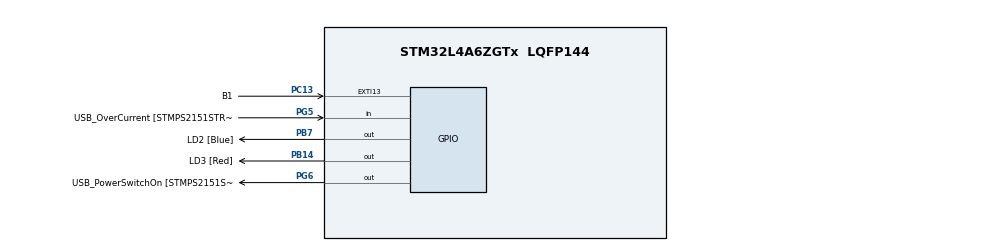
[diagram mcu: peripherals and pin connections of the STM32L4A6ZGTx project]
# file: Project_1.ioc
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FREERTOS.Tasks01=Task1,24,128,StartTask1,Default,NULL,Dynamic,NULL,NULL;Task2,8,128,StartTask2,Default,NULL,Dynamic,NULL,NULL
FREERTOS.configUSE_NEWLIB_REENTRANT=1
Mcu.Family=STM32L4
Mcu.Name=STM32L4A6ZGTx
Mcu.Package=LQFP144
NVIC.PriorityGroup=NVIC_PRIORITYGROUP_4
NVIC.TIM6_DAC_IRQn=true\:15\:0\:false\:false\:true\:false\:false\:true\:true
NVIC.TimeBase=TIM6_DAC_IRQn
NVIC.TimeBaseIP=TIM6
PA10.GPIO_Label=USB_ID
PA10.Signal=USB_OTG_FS_ID
PA11.GPIO_Label=USB_DM
PA11.Signal=USB_OTG_FS_DM
PA12.GPIO_Label=USB_DP
PA12.Signal=USB_OTG_FS_DP
PA13\ (JTMS/SWDIO).GPIO_Label=TMS
PA13\ (JTMS/SWDIO).Mode=Trace_Asynchronous_SW
PA13\ (JTMS/SWDIO).Signal=SYS_JTMS-SWDIO
PA14\ (JTCK/SWCLK).GPIO_Label=TCK
PA14\ (JTCK/SWCLK).Mode=Trace_Asynchronous_SW
PA14\ (JTCK/SWCLK).Signal=SYS_JTCK-SWCLK
PA8.GPIO_Label=USB_SOF [TP1]
PA8.Signal=USB_OTG_FS_SOF
PA9.GPIO_Label=USB_VBUS
PA9.Signal=USB_OTG_FS_VBUS
PB14.GPIO_Label=LD3 [Red]
PB14.Signal=GPIO_Output
PB3\ (JTDO/TRACESWO).GPIO_Label=SWO
PB3\ (JTDO/TRACESWO).Mode=Trace_Asynchronous_SW
PB3\ (JTDO/TRACESWO).Signal=SYS_JTDO-SWO
PB7.GPIO_Label=LD2 [Blue]
PB7.Signal=GPIO_Output
PC13.GPIO_Label=B1
PC13.Signal=GPXTI13
PC14-OSC32_IN\ (PC14).Signal=RCC_OSC32_IN
PC15-OSC32_OUT\ (PC15).Signal=RCC_OSC32_OUT
PG5.GPIO_Label=USB_OverCurrent [STMPS2151STR_FAULT]
PG5.Signal=GPIO_Input
PG6.GPIO_Label=USB_PowerSwitchOn [STMPS2151STR_EN]
PG6.Signal=GPIO_Output
PG7.GPIO_Label=STLK_RX [STM32F103CBT6_PA3]
PG7.Signal=LPUART1_TX
PG8.GPIO_Label=STLK_TX [STM32F103CBT6_PA2]
PG8.Signal=LPUART1_RX
PH1-OSC_OUT\ (PH1).Signal=RCC_OSC_OUT
ProjectManager.HeapSize=0x200
ProjectManager.StackSize=0x400
ProjectManager.TargetToolchain=STM32CubeIDE
RCC.APB1CLKDivider=RCC_HCLK_DIV2
RCC.APB1Freq_Value=2000000
RCC.APB1TimFreq_Value=4000000
RCC.HSE_VALUE=8000000
RCC.HSI48_VALUE=48000000
RCC.HSI_VALUE=16000000
RCC.LSE_VALUE=32768
RCC.MSI_VALUE=4000000
RCC.VCOOutputFreq_Value=32000000
VP_FREERTOS_VS_CMSIS_V2.Mode=CMSIS_V2
VP_SYS_VS_tim6.Mode=TIM6
board=NUCLEO-L4A6ZG

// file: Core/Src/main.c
/* USER CODE BEGIN Header */
/**
  ******************************************************************************
  * @file           : main.c
  * @brief          : Main program body
  ******************************************************************************
  * @attention
  *
  * Copyright (c) 2026 STMicroelectronics.
  * All rights reserved.
  *
  * This software is licensed under terms that can be found in the LICENSE file
  * in the root directory of this software component.
  * If no LICENSE file comes with this software, it is provided AS-IS.
  *
  ******************************************************************************
  */
/* USER CODE END Header */
#include "main.h"
#include "cmsis_os.h"
#include "event_groups.h"

/* Definitions for Task1 */
osThreadId_t ABSHandle;
const osThreadAttr_t Task1_attributes = {
  .name = "Task1",
  .stack_size = 128 * 4,
  .priority = (osPriority_t) osPriorityNormal,
};
/* Definitions for Task2 */
osThreadId_t motorSlipHandle;
const osThreadAttr_t Task2_attributes = {
  .name = "Task2",
  .stack_size = 128 * 4,
  .priority = (osPriority_t) osPriorityLow,
};
/* USER CODE BEGIN PV */
osThreadId_t buttHandle;
const osThreadAttr_t Task3_attributes = {
  .name = "Task3",
  .stack_size = 128 * 4,
  .priority = (osPriority_t) osPriorityLow,
};

osThreadId_t motor1Handle;
const osThreadAttr_t Task4_attributes ={
	.name="Task4",
	.stack_size=128*4,
	.priority=(osPriority_t) osPriorityLow,
};

osThreadId_t motor2Handle;
const osThreadAttr_t Task5_attributes ={
	.name="Task5",
	.stack_size=128*4,
	.priority=(osPriority_t) osPriorityLow,
};

osThreadId_t uartHandle;
const osThreadAttr_t Task6_attributes ={
	.name="Task6",
	.stack_size=128*4,
	.priority=(osPriority_t) osPriorityLow,
};

osThreadId_t ledHandle;
const osThreadAttr_t Task7_attributes ={
	.name="Task7",
	.stack_size=128*4,
	.priority=(osPriority_t) osPriorityLow,
};

EventGroupHandle_t EventGroup1;
/* USER CODE END PV */

void SystemClock_Config(void);
static void MX_GPIO_Init(void);

void ABSTask(void *argument);
void motorSlipTask(void *argument);

void buttTask(void *argument);
void motor1Task(void *argument);
void motor2Task(void *argument);

void uartTask(void *argument);
void ledTask(void *argument);

int main(void)
{

  /* USER CODE BEGIN 1 */
	RCC->AHB2ENR|=(RCC_AHB2ENR_GPIOCEN);
	GPIOC->MODER&=~(0x3<<14);
	GPIOC->MODER|=(0x1<<14);
	GPIOC->OTYPER&=~(0x3<<7);
	GPIOC->OSPEEDR&=~(0x3<<14);
	GPIOC->OSPEEDR|=(0x3<<14);
	GPIOC->PUPDR&=~(0x3<<14);
  /* USER CODE END 1 */

  /* MCU Configuration--------------------------------------------------------*/

  /* Reset of all peripherals, Initializes the Flash interface and the Systick. */
  HAL_Init();

  /* Configure the system clock */
  SystemClock_Config();

  /* Initialize all configured peripherals */
  MX_GPIO_Init();

  /* Init scheduler */
  osKernelInitialize();

  /* Create the thread(s) */
  /* creation of Task1 */
  ABSHandle = osThreadNew(ABSTask, NULL, &Task1_attributes);
  motorSlipHandle = osThreadNew(motorSlipTask, NULL, &Task2_attributes);
  buttHandle = osThreadNew(buttTask, NULL, &Task3_attributes);
  motor1Handle = osThreadNew(motor1Task, NULL, &Task4_attributes);
  motor2Handle = osThreadNew(motor2Task, NULL, &Task5_attributes);
  uartHandle = osThreadNew(uartTask, NULL, &Task6_attributes);
  ledHandle = osThreadNew(ledTask, NULL, &Task7_attributes);
  /* creation of Task2 */

  /* Start scheduler */
  EventGroup1=xEventGroupCreate();
  osKernelStart();

  /* We should never get here as control is now taken by the scheduler */

  /* Infinite loop */
  while (1)
  {

  }
}

void SystemClock_Config(void)
{
  RCC_OscInitTypeDef RCC_OscInitStruct = {0};
  RCC_ClkInitTypeDef RCC_ClkInitStruct = {0};

  /** Configure the main internal regulator output voltage
  */
  if (HAL_PWREx_ControlVoltageScaling(PWR_REGULATOR_VOLTAGE_SCALE1) != HAL_OK)
  {
    Error_Handler();
  }

  /** Initializes the RCC Oscillators according to the specified parameters
  * in the RCC_OscInitTypeDef structure.
  */
  RCC_OscInitStruct.OscillatorType = RCC_OSCILLATORTYPE_MSI;
  RCC_OscInitStruct.MSIState = RCC_MSI_ON;
  RCC_OscInitStruct.MSICalibrationValue = 0;
  RCC_OscInitStruct.MSIClockRange = RCC_MSIRANGE_6;
  RCC_OscInitStruct.PLL.PLLState = RCC_PLL_NONE;
  if (HAL_RCC_OscConfig(&RCC_OscInitStruct) != HAL_OK)
  {
    Error_Handler();
  }

  /** Initializes the CPU, AHB and APB buses clocks
  */
  RCC_ClkInitStruct.ClockType = RCC_CLOCKTYPE_HCLK|RCC_CLOCKTYPE_SYSCLK
                              |RCC_CLOCKTYPE_PCLK1|RCC_CLOCKTYPE_PCLK2;
  RCC_ClkInitStruct.SYSCLKSource = RCC_SYSCLKSOURCE_MSI;
  RCC_ClkInitStruct.AHBCLKDivider = RCC_SYSCLK_DIV1;
  RCC_ClkInitStruct.APB1CLKDivider = RCC_HCLK_DIV2;
  RCC_ClkInitStruct.APB2CLKDivider = RCC_HCLK_DIV1;

  if (HAL_RCC_ClockConfig(&RCC_ClkInitStruct, FLASH_LATENCY_0) != HAL_OK)
  {
    Error_Handler();
  }
}

static void MX_GPIO_Init(void)
{
  GPIO_InitTypeDef GPIO_InitStruct = {0};

  /* GPIO Ports Clock Enable */
  __HAL_RCC_GPIOC_CLK_ENABLE();
  __HAL_RCC_GPIOH_CLK_ENABLE();
  __HAL_RCC_GPIOB_CLK_ENABLE();
  __HAL_RCC_GPIOG_CLK_ENABLE();
  HAL_PWREx_EnableVddIO2();
  __HAL_RCC_GPIOA_CLK_ENABLE();

  /*Configure GPIO pin Output Level */
  HAL_GPIO_WritePin(GPIOB, LD3_Pin|LD2_Pin, GPIO_PIN_RESET);

  /*Configure GPIO pin Output Level */
  HAL_GPIO_WritePin(USB_PowerSwitchOn_GPIO_Port, USB_PowerSwitchOn_Pin, GPIO_PIN_RESET);

  /*Configure GPIO pin : B1_Pin */
  GPIO_InitStruct.Pin = B1_Pin;
  GPIO_InitStruct.Mode = GPIO_MODE_IT_RISING;
  GPIO_InitStruct.Pull = GPIO_PULLDOWN;
  HAL_GPIO_Init(B1_GPIO_Port, &GPIO_InitStruct);

  /*Configure GPIO pins : LD3_Pin LD2_Pin */
  GPIO_InitStruct.Pin = LD3_Pin|LD2_Pin;
  GPIO_InitStruct.Mode = GPIO_MODE_OUTPUT_PP;
  GPIO_InitStruct.Pull = GPIO_NOPULL;
  GPIO_InitStruct.Speed = GPIO_SPEED_FREQ_LOW;
  HAL_GPIO_Init(GPIOB, &GPIO_InitStruct);

  /*Configure GPIO pin : USB_OverCurrent_Pin */
  GPIO_InitStruct.Pin = USB_OverCurrent_Pin;
  GPIO_InitStruct.Mode = GPIO_MODE_INPUT;
  GPIO_InitStruct.Pull = GPIO_NOPULL;
  HAL_GPIO_Init(USB_OverCurrent_GPIO_Port, &GPIO_InitStruct);

  /*Configure GPIO pin : USB_PowerSwitchOn_Pin */
  GPIO_InitStruct.Pin = USB_PowerSwitchOn_Pin;
  GPIO_InitStruct.Mode = GPIO_MODE_OUTPUT_PP;
  GPIO_InitStruct.Pull = GPIO_NOPULL;
  GPIO_InitStruct.Speed = GPIO_SPEED_FREQ_LOW;
  HAL_GPIO_Init(USB_PowerSwitchOn_GPIO_Port, &GPIO_InitStruct);

  /*Configure GPIO pins : STLK_RX_Pin STLK_TX_Pin */
  GPIO_InitStruct.Pin = STLK_RX_Pin|STLK_TX_Pin;
  GPIO_InitStruct.Mode = GPIO_MODE_AF_PP;
  GPIO_InitStruct.Pull = GPIO_NOPULL;
  GPIO_InitStruct.Speed = GPIO_SPEED_FREQ_VERY_HIGH;
  GPIO_InitStruct.Alternate = GPIO_AF8_LPUART1;
  HAL_GPIO_Init(GPIOG, &GPIO_InitStruct);

  /*Configure GPIO pins : USB_SOF_Pin USB_ID_Pin USB_DM_Pin USB_DP_Pin */
  GPIO_InitStruct.Pin = USB_SOF_Pin|USB_ID_Pin|USB_DM_Pin|USB_DP_Pin;
  GPIO_InitStruct.Mode = GPIO_MODE_AF_PP;
  GPIO_InitStruct.Pull = GPIO_NOPULL;
  GPIO_InitStruct.Speed = GPIO_SPEED_FREQ_VERY_HIGH;
  GPIO_InitStruct.Alternate = GPIO_AF10_OTG_FS;
  HAL_GPIO_Init(GPIOA, &GPIO_InitStruct);

}

/* USER CODE BEGIN 4 */
void ABSTask(void *argument) //on button hold
{
	osDelay(300);
	xEventGroupSetBits(EventGroup1,1<<0);
	xTaskNotifyGive(ABSHandle);
	vTaskSuspend(NULL);
}

void motorSlipTask(void *argument) //Detect diff btwn motor spd
{
  //
}

void buttTask(void *argument) //on button hold to break
{
	for(;;){
		ulTaskNotifyTake(pdTRUE,portMAX_DELAY);
		while(!(GPIOC->IDR&GPIO_PIN_13));
		xEventGroupSetBits(EventGroup1,1<<2);
		osDelay(500);
	}
}

void motor1Task(void *argument)
{
	//
}

void motor2Task(void *argument)
{
	//
}

void uartTask(void *argument) //showing spd
{
	//
}

void ledTask(void *argument) //show breaking is working
{
	//
}

void HAL_TIM_PeriodElapsedCallback(TIM_HandleTypeDef *htim)
{
  if (htim->Instance == TIM6)
  {
    HAL_IncTick();
  }
}

void Error_Handler(void)
{
  __disable_irq();
  while (1)
  {
  }
}
